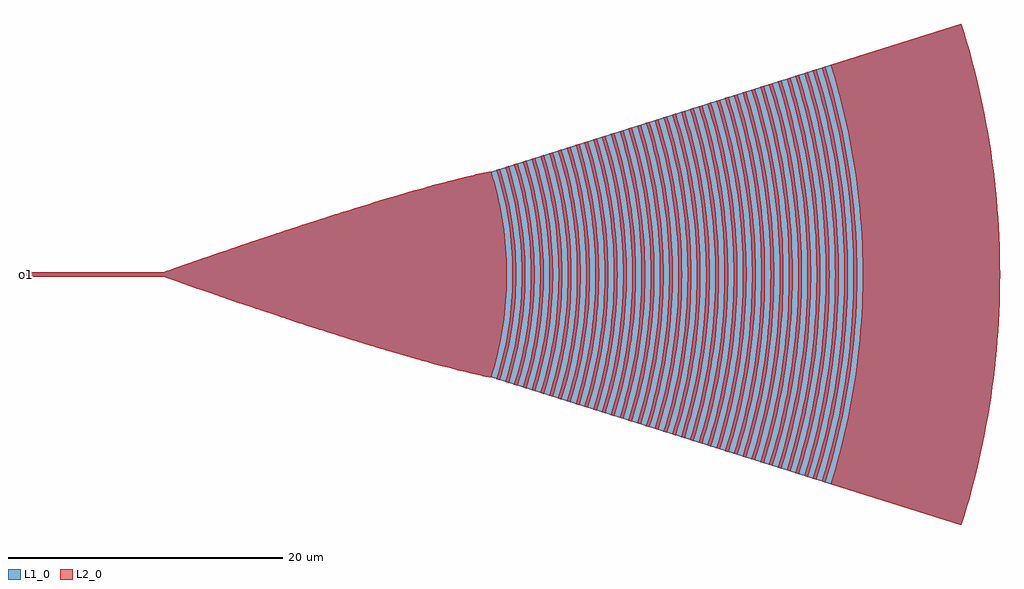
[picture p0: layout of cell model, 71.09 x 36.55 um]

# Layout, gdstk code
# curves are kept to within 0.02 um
import gdstk
lib = gdstk.Library(unit=1e-6, precision=1e-09)
def P(c, l, *ps):  # polygons
    for p in ps: c.add(gdstk.Polygon(p, *l))
L1_0 = (1, 0)
L2_0 = (2, 0)

grating = lib.new_cell('grating')
P(grating, L1_0, [(33.107,-18.274),(-1.152,-7.5),(-2.681,-7.189),(-5.284,-6.524),(-8.074,-5.734),(-11.236,-4.778),(-17.932,-2.611),(-25,-0.175),(-35,-0.175),(-35,0.175),(-25,0.175),(-17.705,2.687),(-11.381,4.733),(-8.033,5.746),(-5.429,6.485),(-2.826,7.155),(-1.152,7.5),(33.107,18.274),(33.692,16.297),(34.368,13.632),(34.795,11.614),(35.154,9.584),(35.444,7.542),(35.723,4.807),(35.851,2.749),(35.913,0),(35.851,-2.749),(35.723,-4.807),(35.444,-7.542),(35.154,-9.584),(34.795,-11.614),(34.368,-13.632),(33.692,-16.297)])
P(grating, L2_0, [(-0.511,-7.701),(-0.767,-7.621),(-0.295,-5.916),(0.057,-4.183),(0.287,-2.429),(0.356,-1.547),(0.402,-0.221),(0.356,1.547),(0.241,2.869),(0.126,3.746),(-0.104,5.053),(-0.295,5.916),(-0.767,7.621),(-0.511,7.701),(-0.258,6.844),(0.066,5.543),(0.391,3.785),(0.593,2.009),(0.67,0.224),(0.663,-0.67),(0.593,-2.009),(0.391,-3.785),(0.066,-5.543),(-0.258,-6.844)],
  [(0.129,-7.903),(-0.126,-7.822),(0.358,-6.073),(0.554,-5.186),(0.79,-3.845),(0.995,-2.041),(1.074,-0.227),(1.066,0.681),(0.995,2.041),(0.79,3.845),(0.554,5.186),(0.358,6.073),(-0.126,7.822),(0.129,7.903),(0.508,6.58),(0.721,5.688),(1.055,3.884),(1.262,2.062),(1.342,0.229),(1.294,-1.604),(1.222,-2.519),(1.055,-3.884),(0.721,-5.688),(0.508,-6.58)],
  [(0.77,-8.104),(0.514,-8.024),(0.771,-7.156),(1.101,-5.838),(1.436,-4.059),(1.608,-2.712),(1.685,-1.81),(1.746,0),(1.685,1.81),(1.608,2.712),(1.436,4.059),(1.101,5.838),(0.771,7.156),(0.514,8.024),(0.77,8.104),(1.148,6.786),(1.363,5.897),(1.701,4.1),(1.825,3.193),(1.952,1.828),(2.014,0),(1.952,-1.828),(1.825,-3.193),(1.701,-4.1),(1.363,-5.897),(1.148,-6.786)],
  [(1.41,-8.306),(1.154,-8.225),(1.651,-6.437),(1.854,-5.531),(2.1,-4.161),(2.319,-2.318),(2.402,-0.928),(2.417,0),(2.402,0.928),(2.319,2.318),(2.1,4.161),(1.854,5.531),(1.651,6.437),(1.154,8.225),(1.41,8.306),(1.798,6.954),(2.018,6.043),(2.365,4.201),(2.543,2.807),(2.622,1.873),(2.685,0),(2.622,-1.873),(2.543,-2.807),(2.365,-4.201),(2.018,-6.043),(1.798,-6.954)],
  [(2.05,-8.507),(1.795,-8.427),(2.058,-7.54),(2.397,-6.194),(2.745,-4.377),(2.973,-2.541),(3.042,-1.618),(3.088,-0.231),(3.042,1.618),(2.928,3.001),(2.814,3.919),(2.67,4.833),(2.397,6.194),(2.058,7.54),(1.795,8.427),(2.05,8.507),(2.438,7.161),(2.659,6.253),(3.01,4.419),(3.194,3.03),(3.279,2.1),(3.356,0.234),(3.333,-1.167),(3.279,-2.1),(3.194,-3.03),(3.01,-4.419),(2.659,-6.253),(2.438,-7.161)],
  [(2.691,-8.708),(2.435,-8.628),(2.944,-6.803),(3.246,-5.415),(3.409,-4.482),(3.541,-3.544),(3.681,-2.13),(3.759,-0.237),(3.751,0.71),(3.681,2.13),(3.541,3.544),(3.409,4.482),(3.246,5.415),(2.944,6.803),(2.435,8.628),(2.691,8.708),(3.204,6.867),(3.509,5.465),(3.673,4.523),(3.909,2.626),(3.98,1.672),(4.027,0.239),(3.98,-1.672),(3.862,-3.102),(3.744,-4.051),(3.509,-5.465),(3.313,-6.401),(2.963,-7.792)],
  [(3.331,-8.91),(3.076,-8.829),(3.351,-7.9),(3.707,-6.49),(4.072,-4.586),(4.311,-2.662),(4.406,-1.212),(4.43,-0.242),(4.406,1.212),(4.35,2.179),(4.263,3.145),(4.072,4.586),(3.707,6.49),(3.351,7.9),(3.076,8.829),(3.331,8.91),(3.727,7.537),(3.954,6.612),(4.318,4.742),(4.455,3.8),(4.604,2.379),(4.665,1.428),(4.699,0),(4.665,-1.428),(4.604,-2.379),(4.455,-3.8),(4.318,-4.742),(3.954,-6.612),(3.727,-7.537)],
  [(3.972,-9.111),(3.716,-9.031),(4.236,-7.171),(4.451,-6.23),(4.716,-4.807),(4.913,-3.372),(5.006,-2.411),(5.068,-1.448),(5.102,0),(5.068,1.448),(5.006,2.411),(4.913,3.372),(4.716,4.807),(4.451,6.23),(4.236,7.171),(3.716,9.031),(3.972,9.111),(4.249,8.177),(4.608,6.761),(4.81,5.808),(5.055,4.368),(5.273,2.433),(5.355,0.974),(5.37,0),(5.355,-0.974),(5.273,-2.433),(5.055,-4.368),(4.81,-5.808),(4.608,-6.761),(4.249,-8.177)],
  [(4.612,-9.313),(4.356,-9.232),(4.766,-7.81),(5.001,-6.851),(5.206,-5.886),(5.454,-4.426),(5.675,-2.465),(5.758,-0.987),(5.774,0),(5.758,0.987),(5.675,2.465),(5.454,4.426),(5.206,5.886),(5.001,6.851),(4.766,7.81),(4.356,9.232),(4.612,9.313),(5.026,7.878),(5.263,6.911),(5.469,5.937),(5.719,4.465),(5.898,2.982),(5.978,1.99),(6.042,0),(5.978,-1.99),(5.898,-2.982),(5.719,-4.465),(5.469,-5.937),(5.263,-6.911),(5.026,-7.878)],
  [(5.252,-9.514),(4.997,-9.434),(5.527,-7.542),(5.748,-6.584),(6.023,-5.136),(6.168,-4.164),(6.329,-2.699),(6.398,-1.719),(6.444,-0.246),(6.421,1.228),(6.367,2.209),(6.283,3.188),(6.099,4.651),(5.939,5.62),(5.641,7.064),(5.406,8.018),(4.997,9.434),(5.252,9.514),(5.535,8.564),(5.903,7.124),(6.287,5.18),(6.496,3.708),(6.596,2.722),(6.666,1.734),(6.712,0.248),(6.689,-1.239),(6.635,-2.228),(6.496,-3.708),(6.364,-4.69),(6.11,-6.155),(5.903,-7.124),(5.535,-8.564)],
  [(5.893,-9.715),(5.637,-9.635),(6.055,-8.189),(6.296,-7.214),(6.685,-5.246),(6.834,-4.253),(6.998,-2.757),(7.092,-1.254),(7.115,-0.251),(7.068,1.756),(6.896,3.755),(6.685,5.246),(6.404,6.725),(6.055,8.189),(5.637,9.635),(5.893,9.715),(6.314,8.257),(6.557,7.275),(6.769,6.285),(7.028,4.79),(7.265,2.78),(7.36,1.265),(7.383,0.253),(7.36,-1.265),(7.304,-2.275),(7.162,-3.786),(7.028,-4.79),(6.769,-6.285),(6.557,-7.275),(6.314,-8.257)],
  [(6.533,-9.917),(6.277,-9.836),(6.563,-8.879),(6.935,-7.428),(7.147,-6.451),(7.408,-4.976),(7.601,-3.49),(7.693,-2.495),(7.753,-1.498),(7.788,0),(7.772,0.999),(7.693,2.495),(7.601,3.49),(7.408,4.976),(7.147,6.451),(6.935,7.428),(6.563,8.879),(6.277,9.836),(6.533,9.917),(6.821,8.951),(7.196,7.488),(7.505,6.01),(7.673,5.016),(7.868,3.519),(7.96,2.516),(8.021,1.51),(8.056,0),(8.021,-1.51),(7.96,-2.516),(7.868,-3.519),(7.673,-5.016),(7.505,-6.01),(7.196,-7.488),(6.821,-8.951)],
  [(7.173,-10.118),(6.918,-10.038),(7.343,-8.569),(7.701,-7.082),(7.99,-5.581),(8.211,-4.068),(8.397,-2.038),(8.459,0),(8.397,2.038),(8.211,4.068),(7.99,5.581),(7.701,7.082),(7.343,8.569),(6.918,10.038),(7.173,10.118),(7.467,9.133),(7.85,7.64),(8.068,6.636),(8.336,5.118),(8.477,4.1),(8.629,2.567),(8.692,1.541),(8.727,0),(8.692,-1.541),(8.629,-2.567),(8.477,-4.1),(8.336,-5.118),(8.068,-6.636),(7.85,-7.64),(7.467,-9.133)],
  [(7.814,-10.32),(7.558,-10.239),(7.992,-8.741),(8.357,-7.224),(8.652,-5.693),(8.877,-4.149),(9.067,-2.079),(9.13,0),(9.067,2.079),(8.877,4.149),(8.652,5.693),(8.357,7.224),(7.992,8.741),(7.558,10.239),(7.814,10.32),(8.251,8.81),(8.504,7.792),(8.726,6.768),(9,5.22),(9.203,3.661),(9.299,2.618),(9.382,1.048),(9.398,0),(9.382,-1.048),(9.299,-2.618),(9.203,-3.661),(9,-5.22),(8.726,-6.768),(8.504,-7.792),(8.251,-8.81)],
  [(8.454,-10.521),(8.199,-10.441),(8.631,-8.95),(8.882,-7.947),(9.203,-6.429),(9.379,-5.409),(9.586,-3.871),(9.685,-2.842),(9.778,-1.293),(9.801,-0.259),(9.778,1.293),(9.724,2.326),(9.524,4.385),(9.294,5.92),(8.996,7.442),(8.631,8.95),(8.199,10.441),(8.454,10.521),(8.89,9.019),(9.143,8.008),(9.366,6.99),(9.643,5.451),(9.852,3.901),(9.952,2.864),(10.022,1.824),(10.069,0.261),(10.061,-0.782),(9.991,-2.344),(9.906,-3.383),(9.721,-4.935),(9.466,-6.478),(9.143,-8.008),(8.89,-9.019)],
  [(9.095,-10.722),(8.839,-10.642),(9.28,-9.123),(9.652,-7.586),(9.956,-6.034),(10.19,-4.47),(10.394,-2.371),(10.472,-0.264),(10.464,0.791),(10.394,2.371),(10.19,4.47),(9.956,6.034),(9.652,7.586),(9.28,9.123),(8.839,10.642),(9.095,10.722),(9.539,9.192),(9.797,8.161),(10.126,6.602),(10.306,5.555),(10.519,3.976),(10.621,2.918),(10.693,1.858),(10.74,0.266),(10.732,-0.797),(10.661,-2.389),(10.519,-3.976),(10.385,-5.03),(10.126,-6.602),(9.797,-8.161),(9.539,-9.192)],
  [(9.735,-10.924),(9.479,-10.843),(9.928,-9.296),(10.308,-7.729),(10.617,-6.148),(10.856,-4.554),(11.063,-2.416),(11.143,-0.269),(11.095,1.879),(10.976,3.486),(10.856,4.554),(10.617,6.148),(10.308,7.729),(9.928,9.296),(9.479,10.843),(9.735,10.924),(10.177,9.402),(10.553,7.862),(10.862,6.308),(11.03,5.265),(11.225,3.692),(11.316,2.639),(11.378,1.584),(11.412,0),(11.378,-1.584),(11.316,-2.639),(11.225,-3.692),(11.03,-5.265),(10.862,-6.308),(10.553,-7.862),(10.177,-9.402)],
  [(10.375,-11.125),(10.12,-11.045),(10.567,-9.506),(10.947,-7.949),(11.259,-6.378),(11.502,-4.794),(11.719,-2.669),(11.781,-1.602),(11.815,0),(11.781,1.602),(11.719,2.669),(11.502,4.794),(11.259,6.378),(10.947,7.949),(10.567,9.506),(10.12,11.045),(10.375,11.125),(10.826,9.575),(11.089,8.532),(11.426,6.953),(11.694,5.362),(11.834,4.295),(11.986,2.688),(12.068,1.076),(12.083,0),(12.068,-1.076),(11.986,-2.688),(11.834,-4.295),(11.694,-5.362),(11.426,-6.953),(11.089,-8.532),(10.826,-9.575)],
  [(11.016,-11.326),(10.76,-11.246),(11.216,-9.679),(11.602,-8.094),(11.92,-6.494),(12.168,-4.881),(12.294,-3.801),(12.424,-2.174),(12.487,0),(12.424,2.174),(12.294,3.801),(12.168,4.881),(11.92,6.494),(11.602,8.094),(11.216,9.679),(10.76,11.246),(11.016,11.326),(11.329,10.277),(11.742,8.686),(11.979,7.616),(12.275,6),(12.501,4.373),(12.612,3.283),(12.719,1.643),(12.755,0),(12.719,-1.643),(12.612,-3.283),(12.501,-4.373),(12.275,-6),(11.979,-7.616),(11.742,-8.686),(11.329,-10.277)],
  [(11.656,-11.528),(11.4,-11.447),(11.854,-9.89),(12.241,-8.315),(12.561,-6.724),(12.813,-5.122),(13.042,-2.971),(13.134,-1.352),(13.157,-0.27),(13.111,1.892),(13.042,2.971),(12.882,4.585),(12.561,6.724),(12.241,8.315),(11.854,9.89),(11.4,11.447),(11.656,11.528),(12.113,9.959),(12.38,8.904),(12.618,7.841),(12.917,6.235),(13.148,4.618),(13.263,3.535),(13.379,1.905),(13.425,0.272),(13.402,-1.361),(13.348,-2.449),(13.209,-4.077),(13.001,-5.697),(12.825,-6.772),(12.503,-8.373),(12.113,-9.959)],
  [(12.296,-11.729),(12.041,-11.649),(12.502,-10.064),(12.896,-8.461),(13.222,-6.843),(13.478,-5.212),(13.665,-3.572),(13.75,-2.475),(13.828,-0.275),(13.782,1.925),(13.665,3.572),(13.548,4.666),(13.222,6.843),(12.896,8.461),(12.502,10.064),(12.041,11.649),(12.296,11.729),(12.614,10.668),(13.033,9.059),(13.275,7.978),(13.579,6.344),(13.744,5.248),(13.932,3.596),(14.049,1.939),(14.096,0.277),(14.073,-1.385),(13.979,-3.044),(13.877,-4.148),(13.665,-5.796),(13.384,-7.435),(13.158,-8.519),(12.761,-10.133)],
  [(12.937,-11.931),(12.681,-11.85),(13.151,-10.238),(13.552,-8.607),(13.883,-6.961),(14.143,-5.302),(14.381,-3.076),(14.476,-1.399),(14.5,-0.28),(14.492,0.84),(14.42,2.517),(14.278,4.191),(14.143,5.302),(13.883,6.961),(13.552,8.607),(13.151,10.238),(12.681,11.85),(12.937,11.931),(13.26,10.851),(13.686,9.215),(13.932,8.115),(14.242,6.453),(14.48,4.779),(14.648,3.097),(14.72,1.972),(14.768,0.282),(14.744,-1.409),(14.648,-3.097),(14.544,-4.219),(14.329,-5.896),(14.043,-7.562),(13.813,-8.666),(13.41,-10.307)],
  [(13.577,-12.132),(13.322,-12.052),(13.789,-10.449),(14.19,-8.829),(14.523,-7.194),(14.86,-4.994),(15.076,-2.78),(15.157,-1.113),(15.172,0),(15.157,1.113),(15.076,2.78),(14.86,4.994),(14.523,7.194),(14.19,8.829),(13.789,10.449),(13.322,12.052),(13.577,12.132),(14.048,10.519),(14.324,9.434),(14.682,7.792),(14.972,6.137),(15.192,4.472),(15.343,2.798),(15.405,1.68),(15.44,0),(15.405,-1.68),(15.343,-2.798),(15.192,-4.472),(14.972,-6.137),(14.682,-7.792),(14.324,-9.434),(14.048,-10.519)],
  [(14.218,-12.333),(13.962,-12.253),(14.437,-10.624),(14.845,-8.977),(15.183,-7.314),(15.526,-5.078),(15.651,-3.954),(15.781,-2.262),(15.843,0),(15.781,2.262),(15.651,3.954),(15.526,5.078),(15.183,7.314),(14.845,8.977),(14.437,10.624),(13.962,12.253),(14.218,12.333),(14.696,10.694),(15.106,9.036),(15.447,7.362),(15.635,6.239),(15.859,4.546),(16.013,2.845),(16.076,1.708),(16.111,0),(16.076,-1.708),(16.013,-2.845),(15.859,-4.546),(15.635,-6.239),(15.447,-7.362),(15.106,-9.036),(14.696,-10.694)],
  [(14.858,-12.535),(14.602,-12.454),(15.086,-10.799),(15.499,-9.124),(15.844,-7.434),(16.117,-5.731),(16.32,-4.018),(16.415,-2.873),(16.499,-1.15),(16.515,0),(16.499,1.15),(16.415,2.873),(16.32,4.018),(16.117,5.731),(15.844,7.434),(15.499,9.124),(15.086,10.799),(14.602,12.454),(14.858,12.535),(15.183,11.451),(15.615,9.809),(15.98,8.152),(16.277,6.481),(16.506,4.799),(16.667,3.109),(16.736,1.98),(16.782,0.283),(16.759,-1.414),(16.667,-3.109),(16.506,-4.799),(16.277,-6.481),(15.98,-8.152),(15.615,-9.809),(15.183,-11.451)],
  [(15.498,-12.736),(15.243,-12.656),(15.724,-11.011),(16.26,-8.79),(16.583,-7.107),(16.837,-5.412),(17.023,-3.709),(17.108,-2.569),(17.185,-0.286),(17.162,1.428),(17.108,2.569),(17.023,3.709),(16.837,5.412),(16.583,7.107),(16.26,8.79),(15.724,11.011),(15.243,12.656),(15.498,12.736),(15.982,11.081),(16.267,9.967),(16.638,8.283),(16.94,6.585),(17.173,4.876),(17.336,3.159),(17.43,1.437),(17.453,0.288),(17.43,-1.437),(17.336,-3.159),(17.173,-4.876),(16.94,-6.585),(16.638,-8.283),(16.267,-9.967),(15.982,-11.081)],
  [(16.139,-12.938),(15.883,-12.857),(16.372,-11.186),(16.792,-9.497),(17.143,-7.791),(17.425,-6.073),(17.574,-4.922),(17.738,-3.189),(17.833,-1.451),(17.856,-0.29),(17.833,1.451),(17.778,2.61),(17.691,3.768),(17.503,5.498),(17.245,7.22),(16.917,8.93),(16.372,11.186),(15.883,12.857),(16.139,12.938),(16.474,11.819),(16.92,10.125),(17.296,8.414),(17.603,6.689),(17.84,4.953),(18.006,3.209),(18.077,2.043),(18.124,0.292),(18.1,-1.46),(18.006,-3.209),(17.84,-4.953),(17.69,-6.111),(17.407,-7.84),(17.053,-9.556),(16.63,-11.256)],
  [(16.779,-13.139),(16.524,-13.059),(17.17,-10.791),(17.573,-9.07),(17.906,-7.333),(18.169,-5.584),(18.36,-3.827),(18.448,-2.651),(18.527,-0.295),(18.504,1.473),(18.448,2.651),(18.36,3.827),(18.169,5.584),(17.906,7.333),(17.573,9.07),(17.17,10.791),(16.524,13.059),(16.779,13.139),(17.268,11.469),(17.69,9.78),(18.045,8.076),(18.332,6.36),(18.486,5.209),(18.658,3.478),(18.762,1.74),(18.796,0),(18.762,-1.74),(18.658,-3.478),(18.486,-5.209),(18.332,-6.36),(18.045,-8.076),(17.69,-9.78),(17.268,-11.469)],
  [(17.42,-13.34),(17.164,-13.26),(17.807,-11.008),(18.211,-9.299),(18.546,-7.574),(18.812,-5.838),(18.952,-4.676),(19.103,-2.926),(19.165,-1.756),(19.2,0),(19.165,1.756),(19.103,2.926),(18.952,4.676),(18.812,5.838),(18.546,7.574),(18.211,9.299),(17.807,11.008),(17.164,13.26),(17.42,13.34),(17.916,11.644),(18.345,9.93),(18.593,8.778),(18.907,7.039),(19.152,5.289),(19.327,3.531),(19.433,1.767),(19.468,0),(19.433,-1.767),(19.327,-3.531),(19.152,-5.289),(18.907,-7.039),(18.593,-8.778),(18.345,-9.93),(17.916,-11.644)],
  [(18.06,-13.542),(17.804,-13.461),(18.305,-11.75),(18.867,-9.44),(19.207,-7.689),(19.478,-5.927),(19.619,-4.747),(19.773,-2.97),(19.836,-1.783),(19.871,0),(19.836,1.783),(19.773,2.97),(19.619,4.747),(19.478,5.927),(19.207,7.689),(18.867,9.44),(18.305,11.75),(17.804,13.461),(18.06,13.542),(18.564,11.82),(18.999,10.08),(19.365,8.324),(19.661,6.555),(19.819,5.369),(19.997,3.584),(20.103,1.794),(20.139,0),(20.103,-1.794),(19.997,-3.584),(19.819,-5.369),(19.661,-6.555),(19.365,-8.324),(18.999,-10.08),(18.564,-11.82)],
  [(18.7,-13.743),(18.445,-13.663),(19.107,-11.343),(19.523,-9.581),(19.869,-7.805),(20.143,-6.016),(20.347,-4.217),(20.442,-3.014),(20.506,-1.81),(20.542,0),(20.506,1.81),(20.442,3.014),(20.347,4.217),(20.143,6.016),(19.869,7.805),(19.523,9.581),(19.107,11.343),(18.445,13.663),(18.7,13.743),(19.202,12.033),(19.499,10.883),(19.888,9.145),(20.21,7.392),(20.463,5.628),(20.648,3.856),(20.763,2.078),(20.809,0.297),(20.786,-1.485),(20.694,-3.264),(20.532,-5.038),(20.302,-6.805),(20.003,-8.562),(19.636,-10.305),(19.202,-12.033)],
  [(19.341,-13.945),(19.085,-13.864),(19.591,-12.139),(20.029,-10.396),(20.508,-8.048),(20.786,-6.272),(20.933,-5.083),(21.096,-3.293),(21.166,-2.096),(21.213,-0.3),(21.205,0.899),(21.135,2.695),(20.995,4.487),(20.786,6.272),(20.508,8.048),(20.029,10.396),(19.591,12.139),(19.085,13.864),(19.341,13.945),(19.849,12.21),(20.151,11.043),(20.546,9.279),(20.873,7.5),(21.129,5.711),(21.317,3.913),(21.434,2.109),(21.481,0.301),(21.457,-1.506),(21.364,-3.312),(21.2,-5.112),(20.966,-6.905),(20.663,-8.687),(20.29,-10.456),(19.849,-12.21)],
  [(19.981,-14.146),(19.725,-14.066),(20.239,-12.316),(20.816,-9.954),(21.169,-8.165),(21.451,-6.363),(21.601,-5.157),(21.766,-3.341),(21.837,-2.127),(21.884,-0.304),(21.86,1.52),(21.766,3.341),(21.601,5.157),(21.451,6.363),(21.169,8.165),(20.816,9.954),(20.239,12.316),(19.725,14.066),(19.981,14.146),(20.497,12.386),(20.944,10.607),(21.322,8.813),(21.63,7.005),(21.796,5.793),(21.986,3.969),(22.104,2.139),(22.152,0.306),(22.128,-1.528),(22.033,-3.36),(21.867,-5.186),(21.63,-7.005),(21.322,-8.813),(20.944,-10.607),(20.497,-12.386)],
  [(20.621,-14.347),(20.366,-14.267),(20.886,-12.492),(21.472,-10.096),(21.83,-8.282),(22.116,-6.454),(22.332,-4.617),(22.435,-3.388),(22.507,-2.157),(22.555,-0.308),(22.547,0.925),(22.475,2.773),(22.332,4.617),(22.116,6.454),(21.83,8.282),(21.472,10.096),(20.886,12.492),(20.366,14.267),(20.621,14.347),(21.135,12.6),(21.581,10.834),(21.96,9.052),(22.27,7.258),(22.512,5.453),(22.686,3.639),(22.79,1.821),(22.824,0),(22.79,-1.821),(22.686,-3.639),(22.512,-5.453),(22.27,-7.258),(21.96,-9.052),(21.581,-10.834),(21.135,-12.6)],
  [(21.262,-14.549),(21.006,-14.468),(21.524,-12.706),(22.109,-10.328),(22.468,-8.527),(22.758,-6.713),(22.913,-5.499),(23.088,-3.67),(23.193,-1.836),(23.228,0),(23.193,1.836),(23.088,3.67),(22.913,5.499),(22.758,6.713),(22.468,8.527),(22.109,10.328),(21.524,12.706),(21.006,14.468),(21.262,14.549),(21.782,12.777),(22.235,10.986),(22.619,9.179),(22.934,7.36),(23.179,5.529),(23.355,3.691),(23.46,1.847),(23.496,0),(23.46,-1.847),(23.355,-3.691),(23.179,-5.529),(22.934,-7.36),(22.619,-9.179),(22.235,-10.986),(21.782,-12.777)],
  [(21.902,-14.75),(21.647,-14.67),(22.171,-12.883),(22.628,-11.077),(23.129,-8.646),(23.423,-6.807),(23.647,-4.958),(23.757,-3.721),(23.863,-1.862),(23.899,0),(23.863,1.862),(23.757,3.721),(23.647,4.958),(23.423,6.807),(23.129,8.646),(22.628,11.077),(22.171,12.883),(21.647,14.67),(21.902,14.75),(22.43,12.953),(22.889,11.138),(23.278,9.307),(23.597,7.461),(23.846,5.606),(24.024,3.742),(24.131,1.872),(24.167,0),(24.131,-1.872),(24.024,-3.742),(23.846,-5.606),(23.597,-7.461),(23.278,-9.307),(22.889,-11.138),(22.43,-12.953)],
  [(22.543,-14.951),(22.287,-14.871),(22.981,-12.452),(23.42,-10.616),(23.789,-8.764),(24.088,-6.9),(24.315,-5.026),(24.47,-3.145),(24.534,-1.888),(24.57,0),(24.554,1.259),(24.47,3.145),(24.315,5.026),(24.088,6.9),(23.789,8.764),(23.42,10.616),(22.981,12.452),(22.287,14.871),(22.543,14.951),(23.067,13.168),(23.525,11.366),(23.915,9.548),(24.237,7.716),(24.491,5.875),(24.675,4.024),(24.791,2.169),(24.837,0.31),(24.814,-1.549),(24.722,-3.406),(24.56,-5.259),(24.329,-7.104),(24.03,-8.939),(23.525,-11.366),(23.067,-13.168)],
  [(23.183,-15.153),(22.927,-15.072),(23.456,-13.274),(23.918,-11.458),(24.427,-9.011),(24.729,-7.161),(24.961,-5.301),(25.124,-3.434),(25.194,-2.186),(25.24,-0.312),(25.233,0.937),(25.163,2.81),(25.023,4.679),(24.814,6.542),(24.427,9.011),(24.056,10.848),(23.456,13.274),(22.927,15.072),(23.183,15.153),(23.715,13.345),(24.179,11.519),(24.574,9.676),(24.9,7.82),(25.157,5.954),(25.345,4.079),(25.462,2.198),(25.508,0.314),(25.485,-1.57),(25.391,-3.452),(25.228,-5.329),(24.994,-7.199),(24.574,-9.676),(24.179,-11.519),(23.715,-13.345)],
  [(33.107,-18.274),(23.568,-15.274),(24.104,-13.452),(24.571,-11.611),(24.97,-9.754),(25.299,-7.883),(25.558,-6.001),(25.747,-4.111),(25.865,-2.215),(25.912,-0.317),(25.865,2.215),(25.747,4.111),(25.558,6.001),(25.299,7.883),(24.97,9.754),(24.571,11.611),(24.104,13.452),(23.568,15.274),(33.107,18.274),(33.692,16.297),(34.368,13.632),(34.795,11.614),(35.154,9.584),(35.444,7.542),(35.723,4.807),(35.851,2.749),(35.913,0),(35.851,-2.749),(35.723,-4.807),(35.444,-7.542),(35.154,-9.584),(34.795,-11.614),(34.368,-13.632),(33.692,-16.297)],
  [(-1.157,-7.5),(-2.681,-7.189),(-4.726,-6.674),(-7.144,-6.004),(-10.864,-4.893),(-14.584,-3.715),(-17.932,-2.611),(-25,-0.175),(-35,-0.175),(-35,0.175),(-25,0.175),(-17.705,2.687),(-13.613,4.028),(-10.823,4.906),(-7.103,6.016),(-4.685,6.685),(-2.454,7.242),(-1.152,7.5),(-0.687,5.822),(-0.417,4.545),(-0.273,3.686),(-0.16,2.823),(-0.046,1.523),(-0.001,-0.218),(-0.077,-1.957),(-0.16,-2.823),(-0.341,-4.116),(-0.687,-5.822)])

model = lib.new_cell('model')
P(model, L1_0, [(-35,-0.175),(-35.175,0),(-35.043,0.132),(-35.017,0.132),(-35.151,0),(-35.017,0),(-35.017,0.132),(-35.043,0.132),(-35,0.175)],
  [(33.107,-18.274),(-1.152,-7.5),(-2.681,-7.189),(-5.284,-6.524),(-8.074,-5.734),(-11.236,-4.778),(-17.932,-2.611),(-25,-0.175),(-35,-0.175),(-35,0.175),(-25,0.175),(-17.705,2.687),(-11.381,4.733),(-8.033,5.746),(-5.429,6.485),(-2.826,7.155),(-1.152,7.5),(33.107,18.274),(33.692,16.297),(34.368,13.632),(34.795,11.614),(35.154,9.584),(35.444,7.542),(35.723,4.807),(35.851,2.749),(35.913,0),(35.851,-2.749),(35.723,-4.807),(35.444,-7.542),(35.154,-9.584),(34.795,-11.614),(34.368,-13.632),(33.692,-16.297)])
P(model, L2_0, [(-0.511,-7.701),(-0.767,-7.621),(-0.295,-5.916),(0.057,-4.183),(0.287,-2.429),(0.356,-1.547),(0.402,-0.221),(0.356,1.547),(0.241,2.869),(0.126,3.746),(-0.104,5.053),(-0.295,5.916),(-0.767,7.621),(-0.511,7.701),(-0.258,6.844),(0.066,5.543),(0.391,3.785),(0.593,2.009),(0.67,0.224),(0.663,-0.67),(0.593,-2.009),(0.391,-3.785),(0.066,-5.543),(-0.258,-6.844)],
  [(0.129,-7.903),(-0.126,-7.822),(0.358,-6.073),(0.554,-5.186),(0.79,-3.845),(0.995,-2.041),(1.074,-0.227),(1.066,0.681),(0.995,2.041),(0.79,3.845),(0.554,5.186),(0.358,6.073),(-0.126,7.822),(0.129,7.903),(0.508,6.58),(0.721,5.688),(1.055,3.884),(1.262,2.062),(1.342,0.229),(1.294,-1.604),(1.222,-2.519),(1.055,-3.884),(0.721,-5.688),(0.508,-6.58)],
  [(0.77,-8.104),(0.514,-8.024),(0.771,-7.156),(1.101,-5.838),(1.436,-4.059),(1.608,-2.712),(1.685,-1.81),(1.746,0),(1.685,1.81),(1.608,2.712),(1.436,4.059),(1.101,5.838),(0.771,7.156),(0.514,8.024),(0.77,8.104),(1.148,6.786),(1.363,5.897),(1.701,4.1),(1.825,3.193),(1.952,1.828),(2.014,0),(1.952,-1.828),(1.825,-3.193),(1.701,-4.1),(1.363,-5.897),(1.148,-6.786)],
  [(1.41,-8.306),(1.154,-8.225),(1.651,-6.437),(1.854,-5.531),(2.1,-4.161),(2.319,-2.318),(2.402,-0.928),(2.417,0),(2.402,0.928),(2.319,2.318),(2.1,4.161),(1.854,5.531),(1.651,6.437),(1.154,8.225),(1.41,8.306),(1.798,6.954),(2.018,6.043),(2.365,4.201),(2.543,2.807),(2.622,1.873),(2.685,0),(2.622,-1.873),(2.543,-2.807),(2.365,-4.201),(2.018,-6.043),(1.798,-6.954)],
  [(2.05,-8.507),(1.795,-8.427),(2.058,-7.54),(2.397,-6.194),(2.745,-4.377),(2.973,-2.541),(3.042,-1.618),(3.088,-0.231),(3.042,1.618),(2.928,3.001),(2.814,3.919),(2.67,4.833),(2.397,6.194),(2.058,7.54),(1.795,8.427),(2.05,8.507),(2.438,7.161),(2.659,6.253),(3.01,4.419),(3.194,3.03),(3.279,2.1),(3.356,0.234),(3.333,-1.167),(3.279,-2.1),(3.194,-3.03),(3.01,-4.419),(2.659,-6.253),(2.438,-7.161)],
  [(2.691,-8.708),(2.435,-8.628),(2.944,-6.803),(3.246,-5.415),(3.409,-4.482),(3.541,-3.544),(3.681,-2.13),(3.759,-0.237),(3.751,0.71),(3.681,2.13),(3.541,3.544),(3.409,4.482),(3.246,5.415),(2.944,6.803),(2.435,8.628),(2.691,8.708),(3.204,6.867),(3.509,5.465),(3.673,4.523),(3.909,2.626),(3.98,1.672),(4.027,0.239),(3.98,-1.672),(3.862,-3.102),(3.744,-4.051),(3.509,-5.465),(3.313,-6.401),(2.963,-7.792)],
  [(3.331,-8.91),(3.076,-8.829),(3.351,-7.9),(3.707,-6.49),(4.072,-4.586),(4.311,-2.662),(4.406,-1.212),(4.43,-0.242),(4.406,1.212),(4.35,2.179),(4.263,3.145),(4.072,4.586),(3.707,6.49),(3.351,7.9),(3.076,8.829),(3.331,8.91),(3.727,7.537),(3.954,6.612),(4.318,4.742),(4.455,3.8),(4.604,2.379),(4.665,1.428),(4.699,0),(4.665,-1.428),(4.604,-2.379),(4.455,-3.8),(4.318,-4.742),(3.954,-6.612),(3.727,-7.537)],
  [(3.972,-9.111),(3.716,-9.031),(4.236,-7.171),(4.451,-6.23),(4.716,-4.807),(4.913,-3.372),(5.006,-2.411),(5.068,-1.448),(5.102,0),(5.068,1.448),(5.006,2.411),(4.913,3.372),(4.716,4.807),(4.451,6.23),(4.236,7.171),(3.716,9.031),(3.972,9.111),(4.249,8.177),(4.608,6.761),(4.81,5.808),(5.055,4.368),(5.273,2.433),(5.355,0.974),(5.37,0),(5.355,-0.974),(5.273,-2.433),(5.055,-4.368),(4.81,-5.808),(4.608,-6.761),(4.249,-8.177)],
  [(4.612,-9.313),(4.356,-9.232),(4.766,-7.81),(5.001,-6.851),(5.206,-5.886),(5.454,-4.426),(5.675,-2.465),(5.758,-0.987),(5.774,0),(5.758,0.987),(5.675,2.465),(5.454,4.426),(5.206,5.886),(5.001,6.851),(4.766,7.81),(4.356,9.232),(4.612,9.313),(5.026,7.878),(5.263,6.911),(5.469,5.937),(5.719,4.465),(5.898,2.982),(5.978,1.99),(6.042,0),(5.978,-1.99),(5.898,-2.982),(5.719,-4.465),(5.469,-5.937),(5.263,-6.911),(5.026,-7.878)],
  [(5.252,-9.514),(4.997,-9.434),(5.527,-7.542),(5.748,-6.584),(6.023,-5.136),(6.168,-4.164),(6.329,-2.699),(6.398,-1.719),(6.444,-0.246),(6.421,1.228),(6.367,2.209),(6.283,3.188),(6.099,4.651),(5.939,5.62),(5.641,7.064),(5.406,8.018),(4.997,9.434),(5.252,9.514),(5.535,8.564),(5.903,7.124),(6.287,5.18),(6.496,3.708),(6.596,2.722),(6.666,1.734),(6.712,0.248),(6.689,-1.239),(6.635,-2.228),(6.496,-3.708),(6.364,-4.69),(6.11,-6.155),(5.903,-7.124),(5.535,-8.564)],
  [(5.893,-9.715),(5.637,-9.635),(6.055,-8.189),(6.296,-7.214),(6.685,-5.246),(6.834,-4.253),(6.998,-2.757),(7.092,-1.254),(7.115,-0.251),(7.068,1.756),(6.896,3.755),(6.685,5.246),(6.404,6.725),(6.055,8.189),(5.637,9.635),(5.893,9.715),(6.314,8.257),(6.557,7.275),(6.769,6.285),(7.028,4.79),(7.265,2.78),(7.36,1.265),(7.383,0.253),(7.36,-1.265),(7.304,-2.275),(7.162,-3.786),(7.028,-4.79),(6.769,-6.285),(6.557,-7.275),(6.314,-8.257)],
  [(6.533,-9.917),(6.277,-9.836),(6.563,-8.879),(6.935,-7.428),(7.147,-6.451),(7.408,-4.976),(7.601,-3.49),(7.693,-2.495),(7.753,-1.498),(7.788,0),(7.772,0.999),(7.693,2.495),(7.601,3.49),(7.408,4.976),(7.147,6.451),(6.935,7.428),(6.563,8.879),(6.277,9.836),(6.533,9.917),(6.821,8.951),(7.196,7.488),(7.505,6.01),(7.673,5.016),(7.868,3.519),(7.96,2.516),(8.021,1.51),(8.056,0),(8.021,-1.51),(7.96,-2.516),(7.868,-3.519),(7.673,-5.016),(7.505,-6.01),(7.196,-7.488),(6.821,-8.951)],
  [(7.173,-10.118),(6.918,-10.038),(7.343,-8.569),(7.701,-7.082),(7.99,-5.581),(8.211,-4.068),(8.397,-2.038),(8.459,0),(8.397,2.038),(8.211,4.068),(7.99,5.581),(7.701,7.082),(7.343,8.569),(6.918,10.038),(7.173,10.118),(7.467,9.133),(7.85,7.64),(8.068,6.636),(8.336,5.118),(8.477,4.1),(8.629,2.567),(8.692,1.541),(8.727,0),(8.692,-1.541),(8.629,-2.567),(8.477,-4.1),(8.336,-5.118),(8.068,-6.636),(7.85,-7.64),(7.467,-9.133)],
  [(7.814,-10.32),(7.558,-10.239),(7.992,-8.741),(8.357,-7.224),(8.652,-5.693),(8.877,-4.149),(9.067,-2.079),(9.13,0),(9.067,2.079),(8.877,4.149),(8.652,5.693),(8.357,7.224),(7.992,8.741),(7.558,10.239),(7.814,10.32),(8.251,8.81),(8.504,7.792),(8.726,6.768),(9,5.22),(9.203,3.661),(9.299,2.618),(9.382,1.048),(9.398,0),(9.382,-1.048),(9.299,-2.618),(9.203,-3.661),(9,-5.22),(8.726,-6.768),(8.504,-7.792),(8.251,-8.81)],
  [(8.454,-10.521),(8.199,-10.441),(8.631,-8.95),(8.882,-7.947),(9.203,-6.429),(9.379,-5.409),(9.586,-3.871),(9.685,-2.842),(9.778,-1.293),(9.801,-0.259),(9.778,1.293),(9.724,2.326),(9.524,4.385),(9.294,5.92),(8.996,7.442),(8.631,8.95),(8.199,10.441),(8.454,10.521),(8.89,9.019),(9.143,8.008),(9.366,6.99),(9.643,5.451),(9.852,3.901),(9.952,2.864),(10.022,1.824),(10.069,0.261),(10.061,-0.782),(9.991,-2.344),(9.906,-3.383),(9.721,-4.935),(9.466,-6.478),(9.143,-8.008),(8.89,-9.019)],
  [(9.095,-10.722),(8.839,-10.642),(9.28,-9.123),(9.652,-7.586),(9.956,-6.034),(10.19,-4.47),(10.394,-2.371),(10.472,-0.264),(10.464,0.791),(10.394,2.371),(10.19,4.47),(9.956,6.034),(9.652,7.586),(9.28,9.123),(8.839,10.642),(9.095,10.722),(9.539,9.192),(9.797,8.161),(10.126,6.602),(10.306,5.555),(10.519,3.976),(10.621,2.918),(10.693,1.858),(10.74,0.266),(10.732,-0.797),(10.661,-2.389),(10.519,-3.976),(10.385,-5.03),(10.126,-6.602),(9.797,-8.161),(9.539,-9.192)],
  [(9.735,-10.924),(9.479,-10.843),(9.928,-9.296),(10.308,-7.729),(10.617,-6.148),(10.856,-4.554),(11.063,-2.416),(11.143,-0.269),(11.095,1.879),(10.976,3.486),(10.856,4.554),(10.617,6.148),(10.308,7.729),(9.928,9.296),(9.479,10.843),(9.735,10.924),(10.177,9.402),(10.553,7.862),(10.862,6.308),(11.03,5.265),(11.225,3.692),(11.316,2.639),(11.378,1.584),(11.412,0),(11.378,-1.584),(11.316,-2.639),(11.225,-3.692),(11.03,-5.265),(10.862,-6.308),(10.553,-7.862),(10.177,-9.402)],
  [(10.375,-11.125),(10.12,-11.045),(10.567,-9.506),(10.947,-7.949),(11.259,-6.378),(11.502,-4.794),(11.719,-2.669),(11.781,-1.602),(11.815,0),(11.781,1.602),(11.719,2.669),(11.502,4.794),(11.259,6.378),(10.947,7.949),(10.567,9.506),(10.12,11.045),(10.375,11.125),(10.826,9.575),(11.089,8.532),(11.426,6.953),(11.694,5.362),(11.834,4.295),(11.986,2.688),(12.068,1.076),(12.083,0),(12.068,-1.076),(11.986,-2.688),(11.834,-4.295),(11.694,-5.362),(11.426,-6.953),(11.089,-8.532),(10.826,-9.575)],
  [(11.016,-11.326),(10.76,-11.246),(11.216,-9.679),(11.602,-8.094),(11.92,-6.494),(12.168,-4.881),(12.294,-3.801),(12.424,-2.174),(12.487,0),(12.424,2.174),(12.294,3.801),(12.168,4.881),(11.92,6.494),(11.602,8.094),(11.216,9.679),(10.76,11.246),(11.016,11.326),(11.329,10.277),(11.742,8.686),(11.979,7.616),(12.275,6),(12.501,4.373),(12.612,3.283),(12.719,1.643),(12.755,0),(12.719,-1.643),(12.612,-3.283),(12.501,-4.373),(12.275,-6),(11.979,-7.616),(11.742,-8.686),(11.329,-10.277)],
  [(11.656,-11.528),(11.4,-11.447),(11.854,-9.89),(12.241,-8.315),(12.561,-6.724),(12.813,-5.122),(13.042,-2.971),(13.134,-1.352),(13.157,-0.27),(13.111,1.892),(13.042,2.971),(12.882,4.585),(12.561,6.724),(12.241,8.315),(11.854,9.89),(11.4,11.447),(11.656,11.528),(12.113,9.959),(12.38,8.904),(12.618,7.841),(12.917,6.235),(13.148,4.618),(13.263,3.535),(13.379,1.905),(13.425,0.272),(13.402,-1.361),(13.348,-2.449),(13.209,-4.077),(13.001,-5.697),(12.825,-6.772),(12.503,-8.373),(12.113,-9.959)],
  [(12.296,-11.729),(12.041,-11.649),(12.502,-10.064),(12.896,-8.461),(13.222,-6.843),(13.478,-5.212),(13.665,-3.572),(13.75,-2.475),(13.828,-0.275),(13.782,1.925),(13.665,3.572),(13.548,4.666),(13.222,6.843),(12.896,8.461),(12.502,10.064),(12.041,11.649),(12.296,11.729),(12.614,10.668),(13.033,9.059),(13.275,7.978),(13.579,6.344),(13.744,5.248),(13.932,3.596),(14.049,1.939),(14.096,0.277),(14.073,-1.385),(13.979,-3.044),(13.877,-4.148),(13.665,-5.796),(13.384,-7.435),(13.158,-8.519),(12.761,-10.133)],
  [(12.937,-11.931),(12.681,-11.85),(13.151,-10.238),(13.552,-8.607),(13.883,-6.961),(14.143,-5.302),(14.381,-3.076),(14.476,-1.399),(14.5,-0.28),(14.492,0.84),(14.42,2.517),(14.278,4.191),(14.143,5.302),(13.883,6.961),(13.552,8.607),(13.151,10.238),(12.681,11.85),(12.937,11.931),(13.26,10.851),(13.686,9.215),(13.932,8.115),(14.242,6.453),(14.48,4.779),(14.648,3.097),(14.72,1.972),(14.768,0.282),(14.744,-1.409),(14.648,-3.097),(14.544,-4.219),(14.329,-5.896),(14.043,-7.562),(13.813,-8.666),(13.41,-10.307)],
  [(13.577,-12.132),(13.322,-12.052),(13.789,-10.449),(14.19,-8.829),(14.523,-7.194),(14.86,-4.994),(15.076,-2.78),(15.157,-1.113),(15.172,0),(15.157,1.113),(15.076,2.78),(14.86,4.994),(14.523,7.194),(14.19,8.829),(13.789,10.449),(13.322,12.052),(13.577,12.132),(14.048,10.519),(14.324,9.434),(14.682,7.792),(14.972,6.137),(15.192,4.472),(15.343,2.798),(15.405,1.68),(15.44,0),(15.405,-1.68),(15.343,-2.798),(15.192,-4.472),(14.972,-6.137),(14.682,-7.792),(14.324,-9.434),(14.048,-10.519)],
  [(14.218,-12.333),(13.962,-12.253),(14.437,-10.624),(14.845,-8.977),(15.183,-7.314),(15.526,-5.078),(15.651,-3.954),(15.781,-2.262),(15.843,0),(15.781,2.262),(15.651,3.954),(15.526,5.078),(15.183,7.314),(14.845,8.977),(14.437,10.624),(13.962,12.253),(14.218,12.333),(14.696,10.694),(15.106,9.036),(15.447,7.362),(15.635,6.239),(15.859,4.546),(16.013,2.845),(16.076,1.708),(16.111,0),(16.076,-1.708),(16.013,-2.845),(15.859,-4.546),(15.635,-6.239),(15.447,-7.362),(15.106,-9.036),(14.696,-10.694)],
  [(14.858,-12.535),(14.602,-12.454),(15.086,-10.799),(15.499,-9.124),(15.844,-7.434),(16.117,-5.731),(16.32,-4.018),(16.415,-2.873),(16.499,-1.15),(16.515,0),(16.499,1.15),(16.415,2.873),(16.32,4.018),(16.117,5.731),(15.844,7.434),(15.499,9.124),(15.086,10.799),(14.602,12.454),(14.858,12.535),(15.183,11.451),(15.615,9.809),(15.98,8.152),(16.277,6.481),(16.506,4.799),(16.667,3.109),(16.736,1.98),(16.782,0.283),(16.759,-1.414),(16.667,-3.109),(16.506,-4.799),(16.277,-6.481),(15.98,-8.152),(15.615,-9.809),(15.183,-11.451)],
  [(15.498,-12.736),(15.243,-12.656),(15.724,-11.011),(16.26,-8.79),(16.583,-7.107),(16.837,-5.412),(17.023,-3.709),(17.108,-2.569),(17.185,-0.286),(17.162,1.428),(17.108,2.569),(17.023,3.709),(16.837,5.412),(16.583,7.107),(16.26,8.79),(15.724,11.011),(15.243,12.656),(15.498,12.736),(15.982,11.081),(16.267,9.967),(16.638,8.283),(16.94,6.585),(17.173,4.876),(17.336,3.159),(17.43,1.437),(17.453,0.288),(17.43,-1.437),(17.336,-3.159),(17.173,-4.876),(16.94,-6.585),(16.638,-8.283),(16.267,-9.967),(15.982,-11.081)],
  [(16.139,-12.938),(15.883,-12.857),(16.372,-11.186),(16.792,-9.497),(17.143,-7.791),(17.425,-6.073),(17.574,-4.922),(17.738,-3.189),(17.833,-1.451),(17.856,-0.29),(17.833,1.451),(17.778,2.61),(17.691,3.768),(17.503,5.498),(17.245,7.22),(16.917,8.93),(16.372,11.186),(15.883,12.857),(16.139,12.938),(16.474,11.819),(16.92,10.125),(17.296,8.414),(17.603,6.689),(17.84,4.953),(18.006,3.209),(18.077,2.043),(18.124,0.292),(18.1,-1.46),(18.006,-3.209),(17.84,-4.953),(17.69,-6.111),(17.407,-7.84),(17.053,-9.556),(16.63,-11.256)],
  [(16.779,-13.139),(16.524,-13.059),(17.17,-10.791),(17.573,-9.07),(17.906,-7.333),(18.169,-5.584),(18.36,-3.827),(18.448,-2.651),(18.527,-0.295),(18.504,1.473),(18.448,2.651),(18.36,3.827),(18.169,5.584),(17.906,7.333),(17.573,9.07),(17.17,10.791),(16.524,13.059),(16.779,13.139),(17.268,11.469),(17.69,9.78),(18.045,8.076),(18.332,6.36),(18.486,5.209),(18.658,3.478),(18.762,1.74),(18.796,0),(18.762,-1.74),(18.658,-3.478),(18.486,-5.209),(18.332,-6.36),(18.045,-8.076),(17.69,-9.78),(17.268,-11.469)],
  [(17.42,-13.34),(17.164,-13.26),(17.807,-11.008),(18.211,-9.299),(18.546,-7.574),(18.812,-5.838),(18.952,-4.676),(19.103,-2.926),(19.165,-1.756),(19.2,0),(19.165,1.756),(19.103,2.926),(18.952,4.676),(18.812,5.838),(18.546,7.574),(18.211,9.299),(17.807,11.008),(17.164,13.26),(17.42,13.34),(17.916,11.644),(18.345,9.93),(18.593,8.778),(18.907,7.039),(19.152,5.289),(19.327,3.531),(19.433,1.767),(19.468,0),(19.433,-1.767),(19.327,-3.531),(19.152,-5.289),(18.907,-7.039),(18.593,-8.778),(18.345,-9.93),(17.916,-11.644)],
  [(18.06,-13.542),(17.804,-13.461),(18.305,-11.75),(18.867,-9.44),(19.207,-7.689),(19.478,-5.927),(19.619,-4.747),(19.773,-2.97),(19.836,-1.783),(19.871,0),(19.836,1.783),(19.773,2.97),(19.619,4.747),(19.478,5.927),(19.207,7.689),(18.867,9.44),(18.305,11.75),(17.804,13.461),(18.06,13.542),(18.564,11.82),(18.999,10.08),(19.365,8.324),(19.661,6.555),(19.819,5.369),(19.997,3.584),(20.103,1.794),(20.139,0),(20.103,-1.794),(19.997,-3.584),(19.819,-5.369),(19.661,-6.555),(19.365,-8.324),(18.999,-10.08),(18.564,-11.82)],
  [(18.7,-13.743),(18.445,-13.663),(19.107,-11.343),(19.523,-9.581),(19.869,-7.805),(20.143,-6.016),(20.347,-4.217),(20.442,-3.014),(20.506,-1.81),(20.542,0),(20.506,1.81),(20.442,3.014),(20.347,4.217),(20.143,6.016),(19.869,7.805),(19.523,9.581),(19.107,11.343),(18.445,13.663),(18.7,13.743),(19.202,12.033),(19.499,10.883),(19.888,9.145),(20.21,7.392),(20.463,5.628),(20.648,3.856),(20.763,2.078),(20.809,0.297),(20.786,-1.485),(20.694,-3.264),(20.532,-5.038),(20.302,-6.805),(20.003,-8.562),(19.636,-10.305),(19.202,-12.033)],
  [(19.341,-13.945),(19.085,-13.864),(19.591,-12.139),(20.029,-10.396),(20.508,-8.048),(20.786,-6.272),(20.933,-5.083),(21.096,-3.293),(21.166,-2.096),(21.213,-0.3),(21.205,0.899),(21.135,2.695),(20.995,4.487),(20.786,6.272),(20.508,8.048),(20.029,10.396),(19.591,12.139),(19.085,13.864),(19.341,13.945),(19.849,12.21),(20.151,11.043),(20.546,9.279),(20.873,7.5),(21.129,5.711),(21.317,3.913),(21.434,2.109),(21.481,0.301),(21.457,-1.506),(21.364,-3.312),(21.2,-5.112),(20.966,-6.905),(20.663,-8.687),(20.29,-10.456),(19.849,-12.21)],
  [(19.981,-14.146),(19.725,-14.066),(20.239,-12.316),(20.816,-9.954),(21.169,-8.165),(21.451,-6.363),(21.601,-5.157),(21.766,-3.341),(21.837,-2.127),(21.884,-0.304),(21.86,1.52),(21.766,3.341),(21.601,5.157),(21.451,6.363),(21.169,8.165),(20.816,9.954),(20.239,12.316),(19.725,14.066),(19.981,14.146),(20.497,12.386),(20.944,10.607),(21.322,8.813),(21.63,7.005),(21.796,5.793),(21.986,3.969),(22.104,2.139),(22.152,0.306),(22.128,-1.528),(22.033,-3.36),(21.867,-5.186),(21.63,-7.005),(21.322,-8.813),(20.944,-10.607),(20.497,-12.386)],
  [(20.621,-14.347),(20.366,-14.267),(20.886,-12.492),(21.472,-10.096),(21.83,-8.282),(22.116,-6.454),(22.332,-4.617),(22.435,-3.388),(22.507,-2.157),(22.555,-0.308),(22.547,0.925),(22.475,2.773),(22.332,4.617),(22.116,6.454),(21.83,8.282),(21.472,10.096),(20.886,12.492),(20.366,14.267),(20.621,14.347),(21.135,12.6),(21.581,10.834),(21.96,9.052),(22.27,7.258),(22.512,5.453),(22.686,3.639),(22.79,1.821),(22.824,0),(22.79,-1.821),(22.686,-3.639),(22.512,-5.453),(22.27,-7.258),(21.96,-9.052),(21.581,-10.834),(21.135,-12.6)],
  [(21.262,-14.549),(21.006,-14.468),(21.524,-12.706),(22.109,-10.328),(22.468,-8.527),(22.758,-6.713),(22.913,-5.499),(23.088,-3.67),(23.193,-1.836),(23.228,0),(23.193,1.836),(23.088,3.67),(22.913,5.499),(22.758,6.713),(22.468,8.527),(22.109,10.328),(21.524,12.706),(21.006,14.468),(21.262,14.549),(21.782,12.777),(22.235,10.986),(22.619,9.179),(22.934,7.36),(23.179,5.529),(23.355,3.691),(23.46,1.847),(23.496,0),(23.46,-1.847),(23.355,-3.691),(23.179,-5.529),(22.934,-7.36),(22.619,-9.179),(22.235,-10.986),(21.782,-12.777)],
  [(21.902,-14.75),(21.647,-14.67),(22.171,-12.883),(22.628,-11.077),(23.129,-8.646),(23.423,-6.807),(23.647,-4.958),(23.757,-3.721),(23.863,-1.862),(23.899,0),(23.863,1.862),(23.757,3.721),(23.647,4.958),(23.423,6.807),(23.129,8.646),(22.628,11.077),(22.171,12.883),(21.647,14.67),(21.902,14.75),(22.43,12.953),(22.889,11.138),(23.278,9.307),(23.597,7.461),(23.846,5.606),(24.024,3.742),(24.131,1.872),(24.167,0),(24.131,-1.872),(24.024,-3.742),(23.846,-5.606),(23.597,-7.461),(23.278,-9.307),(22.889,-11.138),(22.43,-12.953)],
  [(22.543,-14.951),(22.287,-14.871),(22.981,-12.452),(23.42,-10.616),(23.789,-8.764),(24.088,-6.9),(24.315,-5.026),(24.47,-3.145),(24.534,-1.888),(24.57,0),(24.554,1.259),(24.47,3.145),(24.315,5.026),(24.088,6.9),(23.789,8.764),(23.42,10.616),(22.981,12.452),(22.287,14.871),(22.543,14.951),(23.067,13.168),(23.525,11.366),(23.915,9.548),(24.237,7.716),(24.491,5.875),(24.675,4.024),(24.791,2.169),(24.837,0.31),(24.814,-1.549),(24.722,-3.406),(24.56,-5.259),(24.329,-7.104),(24.03,-8.939),(23.525,-11.366),(23.067,-13.168)],
  [(23.183,-15.153),(22.927,-15.072),(23.456,-13.274),(23.918,-11.458),(24.427,-9.011),(24.729,-7.161),(24.961,-5.301),(25.124,-3.434),(25.194,-2.186),(25.24,-0.312),(25.233,0.937),(25.163,2.81),(25.023,4.679),(24.814,6.542),(24.427,9.011),(24.056,10.848),(23.456,13.274),(22.927,15.072),(23.183,15.153),(23.715,13.345),(24.179,11.519),(24.574,9.676),(24.9,7.82),(25.157,5.954),(25.345,4.079),(25.462,2.198),(25.508,0.314),(25.485,-1.57),(25.391,-3.452),(25.228,-5.329),(24.994,-7.199),(24.574,-9.676),(24.179,-11.519),(23.715,-13.345)],
  [(33.107,-18.274),(23.568,-15.274),(24.104,-13.452),(24.571,-11.611),(24.97,-9.754),(25.299,-7.883),(25.558,-6.001),(25.747,-4.111),(25.865,-2.215),(25.912,-0.317),(25.865,2.215),(25.747,4.111),(25.558,6.001),(25.299,7.883),(24.97,9.754),(24.571,11.611),(24.104,13.452),(23.568,15.274),(33.107,18.274),(33.692,16.297),(34.368,13.632),(34.795,11.614),(35.154,9.584),(35.444,7.542),(35.723,4.807),(35.851,2.749),(35.913,0),(35.851,-2.749),(35.723,-4.807),(35.444,-7.542),(35.154,-9.584),(34.795,-11.614),(34.368,-13.632),(33.692,-16.297)],
  [(-1.157,-7.5),(-2.681,-7.189),(-4.726,-6.674),(-7.144,-6.004),(-10.864,-4.893),(-14.584,-3.715),(-17.932,-2.611),(-25,-0.175),(-35,-0.175),(-35,0.175),(-25,0.175),(-17.705,2.687),(-13.613,4.028),(-10.823,4.906),(-7.103,6.016),(-4.685,6.685),(-2.454,7.242),(-1.152,7.5),(-0.687,5.822),(-0.417,4.545),(-0.273,3.686),(-0.16,2.823),(-0.046,1.523),(-0.001,-0.218),(-0.077,-1.957),(-0.16,-2.823),(-0.341,-4.116),(-0.687,-5.822)])
model.add(gdstk.Reference(grating, (0,0)))
model.add(gdstk.Label('o1', (-35,0), layer=1, texttype=0))
model.add(gdstk.Label('o1', (-35,0), layer=66, texttype=0))

lib.write_gds('model.gds')
